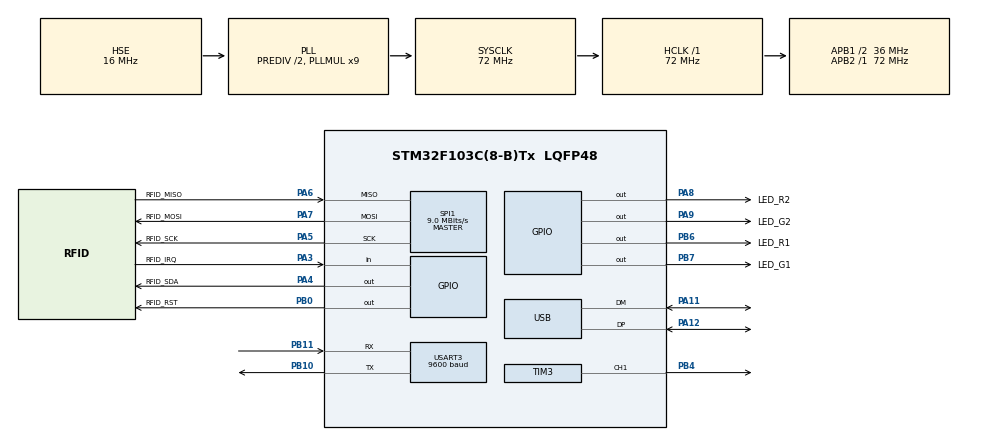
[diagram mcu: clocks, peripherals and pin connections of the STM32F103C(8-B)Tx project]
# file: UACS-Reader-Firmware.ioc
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Dma.Request0=USART3_TX
Dma.Request1=USART3_RX
Dma.USART3_RX.1.Direction=DMA_PERIPH_TO_MEMORY
Dma.USART3_RX.1.Instance=DMA1_Channel3
Dma.USART3_RX.1.MemDataAlignment=DMA_MDATAALIGN_BYTE
Dma.USART3_RX.1.MemInc=DMA_MINC_ENABLE
Dma.USART3_RX.1.Mode=DMA_NORMAL
Dma.USART3_RX.1.PeriphDataAlignment=DMA_PDATAALIGN_BYTE
Dma.USART3_RX.1.PeriphInc=DMA_PINC_DISABLE
Dma.USART3_RX.1.Priority=DMA_PRIORITY_LOW
Dma.USART3_TX.0.Direction=DMA_MEMORY_TO_PERIPH
Dma.USART3_TX.0.Instance=DMA1_Channel2
Dma.USART3_TX.0.MemDataAlignment=DMA_MDATAALIGN_BYTE
Dma.USART3_TX.0.MemInc=DMA_MINC_ENABLE
Dma.USART3_TX.0.Mode=DMA_NORMAL
Dma.USART3_TX.0.PeriphDataAlignment=DMA_PDATAALIGN_BYTE
Dma.USART3_TX.0.PeriphInc=DMA_PINC_DISABLE
Dma.USART3_TX.0.Priority=DMA_PRIORITY_LOW
Mcu.Family=STM32F1
Mcu.Name=STM32F103C(8-B)Tx
Mcu.Package=LQFP48
NVIC.DMA1_Channel2_IRQn=true\:0\:0\:false\:false\:true\:false\:true\:true
NVIC.DMA1_Channel3_IRQn=true\:0\:0\:false\:false\:true\:false\:true\:true
NVIC.PriorityGroup=NVIC_PRIORITYGROUP_4
NVIC.USART3_IRQn=true\:0\:0\:false\:false\:true\:true\:true\:true
NVIC.USB_LP_CAN1_RX0_IRQn=true\:0\:0\:false\:false\:true\:false\:true\:true
PA11.Mode=Device
PA11.Signal=USB_DM
PA12.Mode=Device
PA12.Signal=USB_DP
PA13.Mode=Trace_Asynchronous_SW
PA13.Signal=SYS_JTMS-SWDIO
PA14.Mode=Trace_Asynchronous_SW
PA14.Signal=SYS_JTCK-SWCLK
PA3.GPIO_Label=RFID_IRQ
PA3.Signal=GPIO_Input
PA4.GPIO_Label=RFID_SDA
PA4.Signal=GPIO_Output
PA5.GPIO_Label=RFID_SCK
PA5.Mode=Full_Duplex_Master
PA5.Signal=SPI1_SCK
PA6.GPIO_Label=RFID_MISO
PA6.Mode=Full_Duplex_Master
PA6.Signal=SPI1_MISO
PA7.GPIO_Label=RFID_MOSI
PA7.Mode=Full_Duplex_Master
PA7.Signal=SPI1_MOSI
PA8.GPIO_Label=LED_R2
PA8.Signal=GPIO_Output
PA9.GPIO_Label=LED_G2
PA9.Signal=GPIO_Output
PB0.GPIO_Label=RFID_RST
PB0.Signal=GPIO_Output
PB10.Mode=Asynchronous
PB10.Signal=USART3_TX
PB11.Mode=Asynchronous
PB11.Signal=USART3_RX
PB3.Mode=Trace_Asynchronous_SW
PB3.Signal=SYS_JTDO-TRACESWO
PB4.Signal=S_TIM3_CH1
PB6.GPIO_Label=LED_R1
PB6.Signal=GPIO_Output
PB7.GPIO_Label=LED_G1
PB7.Signal=GPIO_Output
PD0-OSC_IN.Mode=HSE-External-Oscillator
PD0-OSC_IN.Signal=RCC_OSC_IN
PD1-OSC_OUT.Mode=HSE-External-Oscillator
PD1-OSC_OUT.Signal=RCC_OSC_OUT
ProjectManager.HeapSize=0x200
ProjectManager.StackSize=0x400
ProjectManager.TargetToolchain=STM32CubeIDE
RCC.AHBFreq_Value=72000000
RCC.APB1CLKDivider=RCC_HCLK_DIV2
RCC.APB1Freq_Value=36000000
RCC.APB1TimFreq_Value=72000000
RCC.APB2Freq_Value=72000000
RCC.APB2TimFreq_Value=72000000
RCC.HCLKFreq_Value=72000000
RCC.HSEDivPLL=RCC_HSE_PREDIV_DIV2
RCC.HSE_VALUE=16000000
RCC.PLLMUL=RCC_PLL_MUL9
RCC.PLLSourceVirtual=RCC_PLLSOURCE_HSE
RCC.SYSCLKFreq_VALUE=72000000
RCC.SYSCLKSource=RCC_SYSCLKSOURCE_PLLCLK
RCC.USBFreq_Value=48000000
RCC.USBPrescaler=RCC_USBCLKSOURCE_PLL_DIV1_5
SH.S_TIM3_CH1.0=TIM3_CH1,PWM Generation1 CH1
SPI1.BaudRatePrescaler=SPI_BAUDRATEPRESCALER_8
SPI1.CalculateBaudRate=9.0 MBits/s
SPI1.Direction=SPI_DIRECTION_2LINES
SPI1.Mode=SPI_MODE_MASTER
SPI1.VirtualType=VM_MASTER
TIM2.AutoReloadPreload=TIM_AUTORELOAD_PRELOAD_ENABLE
TIM2.Period=1124
TIM3.AutoReloadPreload=TIM_AUTORELOAD_PRELOAD_ENABLE
TIM3.Channel-PWM\ Generation1\ CH1=TIM_CHANNEL_1
TIM3.Period=1124
TIM3.Pulse-PWM\ Generation1\ CH1=562
USART3.BaudRate=9600
USART3.VirtualMode=VM_ASYNC
USB_DEVICE.CLASS_NAME_FS=CDC
USB_DEVICE.USBD_DEBUG_LEVEL=3
USB_DEVICE.VirtualMode=Cdc
USB_DEVICE.VirtualModeFS=Cdc_FS
VP_TIM2_VS_ClockSourceINT.Mode=Internal
VP_TIM3_VS_ClockSourceINT.Mode=Internal
VP_USB_DEVICE_VS_USB_DEVICE_CDC_FS.Mode=CDC_FS
board=custom

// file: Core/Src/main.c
/* USER CODE BEGIN Header */
/**
  ******************************************************************************
  * @file           : main.c
  * @brief          : Main program body
  ******************************************************************************
  * @attention
  *
  * Copyright (c) 2025 STMicroelectronics.
  * All rights reserved.
  *
  * This software is licensed under terms that can be found in the LICENSE file
  * in the root directory of this software component.
  * If no LICENSE file comes with this software, it is provided AS-IS.
  *
  ******************************************************************************
  */
/* USER CODE END Header */
#include "main.h"
#include "usb_device.h"

/* USER CODE BEGIN Includes */
#include "rc522.h"
#include "string.h"
/* USER CODE END Includes */

SPI_HandleTypeDef hspi1;

TIM_HandleTypeDef htim2;
TIM_HandleTypeDef htim3;

UART_HandleTypeDef huart3;
DMA_HandleTypeDef hdma_usart3_tx;
DMA_HandleTypeDef hdma_usart3_rx;

void SystemClock_Config(void);
static void MX_GPIO_Init(void);
static void MX_DMA_Init(void);
static void MX_SPI1_Init(void);
static void MX_USART3_UART_Init(void);
static void MX_TIM3_Init(void);
static void MX_TIM2_Init(void);

int main(void)
{

  /* MCU Configuration--------------------------------------------------------*/

  /* Reset of all peripherals, Initializes the Flash interface and the Systick. */
  HAL_Init();

  /* Configure the system clock */
  SystemClock_Config();

  /* Initialize all configured peripherals */
  MX_GPIO_Init();
  MX_DMA_Init();
  MX_SPI1_Init();
  MX_USART3_UART_Init();
  MX_USB_DEVICE_Init();
  MX_TIM3_Init();
  MX_TIM2_Init();
  /* USER CODE BEGIN 2 */
  uint8_t status;
  uint8_t str[MAX_LEN]; // Max_LEN = 16
  uint8_t sNum[5];
  uint8_t TxBuffer[] = "88\n";
  uint8_t TxBufferLen = strlen(TxBuffer);
  HAL_TIM_PWM_Start(&htim3, TIM_CHANNEL_1);
  MFRC522_Init();
  HAL_GPIO_WritePin(GPIOB, GPIO_PIN_7, GPIO_PIN_SET);
  /* USER CODE END 2 */

  /* Infinite loop */
  /* USER CODE BEGIN WHILE */
  while (1)
  {
	 /* status = MFRC522_Request(PICC_REQIDL, str);
	  status = MFRC522_Anticoll(str);
	  memcpy(sNum, str, 5);
	  HAL_Delay(100);

	  HAL_Delay(2000);
	  */
	  if (CDC_Transmit_FS(TxBuffer, TxBufferLen) == USBD_OK){
		  HAL_GPIO_WritePin(GPIOB, GPIO_PIN_7, GPIO_PIN_SET);
		  HAL_Delay(100);
		  HAL_GPIO_WritePin(GPIOB, GPIO_PIN_7, GPIO_PIN_RESET);
		  HAL_Delay(100);
	  }else{
		  HAL_GPIO_WritePin(GPIOB, GPIO_PIN_7, GPIO_PIN_RESET);
		  HAL_GPIO_WritePin(GPIOB, GPIO_PIN_6, GPIO_PIN_SET);
		  HAL_Delay(100);
		  HAL_GPIO_WritePin(GPIOB, GPIO_PIN_6, GPIO_PIN_RESET);
		  HAL_Delay(100);
	  }
	  ;

    /* USER CODE END WHILE */

  }
}

void SystemClock_Config(void)
{
  RCC_OscInitTypeDef RCC_OscInitStruct = {0};
  RCC_ClkInitTypeDef RCC_ClkInitStruct = {0};
  RCC_PeriphCLKInitTypeDef PeriphClkInit = {0};

  /** Initializes the RCC Oscillators according to the specified parameters
  * in the RCC_OscInitTypeDef structure.
  */
  RCC_OscInitStruct.OscillatorType = RCC_OSCILLATORTYPE_HSE;
  RCC_OscInitStruct.HSEState = RCC_HSE_ON;
  RCC_OscInitStruct.HSEPredivValue = RCC_HSE_PREDIV_DIV2;
  RCC_OscInitStruct.HSIState = RCC_HSI_ON;
  RCC_OscInitStruct.PLL.PLLState = RCC_PLL_ON;
  RCC_OscInitStruct.PLL.PLLSource = RCC_PLLSOURCE_HSE;
  RCC_OscInitStruct.PLL.PLLMUL = RCC_PLL_MUL9;
  if (HAL_RCC_OscConfig(&RCC_OscInitStruct) != HAL_OK)
  {
    Error_Handler();
  }

  /** Initializes the CPU, AHB and APB buses clocks
  */
  RCC_ClkInitStruct.ClockType = RCC_CLOCKTYPE_HCLK|RCC_CLOCKTYPE_SYSCLK
                              |RCC_CLOCKTYPE_PCLK1|RCC_CLOCKTYPE_PCLK2;
  RCC_ClkInitStruct.SYSCLKSource = RCC_SYSCLKSOURCE_PLLCLK;
  RCC_ClkInitStruct.AHBCLKDivider = RCC_SYSCLK_DIV1;
  RCC_ClkInitStruct.APB1CLKDivider = RCC_HCLK_DIV2;
  RCC_ClkInitStruct.APB2CLKDivider = RCC_HCLK_DIV1;

  if (HAL_RCC_ClockConfig(&RCC_ClkInitStruct, FLASH_LATENCY_2) != HAL_OK)
  {
    Error_Handler();
  }
  PeriphClkInit.PeriphClockSelection = RCC_PERIPHCLK_USB;
  PeriphClkInit.UsbClockSelection = RCC_USBCLKSOURCE_PLL_DIV1_5;
  if (HAL_RCCEx_PeriphCLKConfig(&PeriphClkInit) != HAL_OK)
  {
    Error_Handler();
  }
}

static void MX_SPI1_Init(void)
{

  /* SPI1 parameter configuration*/
  hspi1.Instance = SPI1;
  hspi1.Init.Mode = SPI_MODE_MASTER;
  hspi1.Init.Direction = SPI_DIRECTION_2LINES;
  hspi1.Init.DataSize = SPI_DATASIZE_8BIT;
  hspi1.Init.CLKPolarity = SPI_POLARITY_LOW;
  hspi1.Init.CLKPhase = SPI_PHASE_1EDGE;
  hspi1.Init.NSS = SPI_NSS_SOFT;
  hspi1.Init.BaudRatePrescaler = SPI_BAUDRATEPRESCALER_8;
  hspi1.Init.FirstBit = SPI_FIRSTBIT_MSB;
  hspi1.Init.TIMode = SPI_TIMODE_DISABLE;
  hspi1.Init.CRCCalculation = SPI_CRCCALCULATION_DISABLE;
  hspi1.Init.CRCPolynomial = 10;
  if (HAL_SPI_Init(&hspi1) != HAL_OK)
  {
    Error_Handler();
  }

}

static void MX_TIM2_Init(void)
{

  TIM_ClockConfigTypeDef sClockSourceConfig = {0};
  TIM_MasterConfigTypeDef sMasterConfig = {0};

  htim2.Instance = TIM2;
  htim2.Init.Prescaler = 0;
  htim2.Init.CounterMode = TIM_COUNTERMODE_UP;
  htim2.Init.Period = 1124;
  htim2.Init.ClockDivision = TIM_CLOCKDIVISION_DIV1;
  htim2.Init.AutoReloadPreload = TIM_AUTORELOAD_PRELOAD_ENABLE;
  if (HAL_TIM_Base_Init(&htim2) != HAL_OK)
  {
    Error_Handler();
  }
  sClockSourceConfig.ClockSource = TIM_CLOCKSOURCE_INTERNAL;
  if (HAL_TIM_ConfigClockSource(&htim2, &sClockSourceConfig) != HAL_OK)
  {
    Error_Handler();
  }
  sMasterConfig.MasterOutputTrigger = TIM_TRGO_RESET;
  sMasterConfig.MasterSlaveMode = TIM_MASTERSLAVEMODE_DISABLE;
  if (HAL_TIMEx_MasterConfigSynchronization(&htim2, &sMasterConfig) != HAL_OK)
  {
    Error_Handler();
  }

}

static void MX_TIM3_Init(void)
{

  TIM_ClockConfigTypeDef sClockSourceConfig = {0};
  TIM_MasterConfigTypeDef sMasterConfig = {0};
  TIM_OC_InitTypeDef sConfigOC = {0};

  htim3.Instance = TIM3;
  htim3.Init.Prescaler = 0;
  htim3.Init.CounterMode = TIM_COUNTERMODE_UP;
  htim3.Init.Period = 1124;
  htim3.Init.ClockDivision = TIM_CLOCKDIVISION_DIV1;
  htim3.Init.AutoReloadPreload = TIM_AUTORELOAD_PRELOAD_ENABLE;
  if (HAL_TIM_Base_Init(&htim3) != HAL_OK)
  {
    Error_Handler();
  }
  sClockSourceConfig.ClockSource = TIM_CLOCKSOURCE_INTERNAL;
  if (HAL_TIM_ConfigClockSource(&htim3, &sClockSourceConfig) != HAL_OK)
  {
    Error_Handler();
  }
  if (HAL_TIM_PWM_Init(&htim3) != HAL_OK)
  {
    Error_Handler();
  }
  sMasterConfig.MasterOutputTrigger = TIM_TRGO_RESET;
  sMasterConfig.MasterSlaveMode = TIM_MASTERSLAVEMODE_DISABLE;
  if (HAL_TIMEx_MasterConfigSynchronization(&htim3, &sMasterConfig) != HAL_OK)
  {
    Error_Handler();
  }
  sConfigOC.OCMode = TIM_OCMODE_PWM1;
  sConfigOC.Pulse = 562;
  sConfigOC.OCPolarity = TIM_OCPOLARITY_HIGH;
  sConfigOC.OCFastMode = TIM_OCFAST_DISABLE;
  if (HAL_TIM_PWM_ConfigChannel(&htim3, &sConfigOC, TIM_CHANNEL_1) != HAL_OK)
  {
    Error_Handler();
  }
  HAL_TIM_MspPostInit(&htim3);

}

static void MX_USART3_UART_Init(void)
{

  huart3.Instance = USART3;
  huart3.Init.BaudRate = 9600;
  huart3.Init.WordLength = UART_WORDLENGTH_8B;
  huart3.Init.StopBits = UART_STOPBITS_1;
  huart3.Init.Parity = UART_PARITY_NONE;
  huart3.Init.Mode = UART_MODE_TX_RX;
  huart3.Init.HwFlowCtl = UART_HWCONTROL_NONE;
  huart3.Init.OverSampling = UART_OVERSAMPLING_16;
  if (HAL_UART_Init(&huart3) != HAL_OK)
  {
    Error_Handler();
  }

}

static void MX_DMA_Init(void)
{

  /* DMA controller clock enable */
  __HAL_RCC_DMA1_CLK_ENABLE();

  /* DMA interrupt init */
  /* DMA1_Channel2_IRQn interrupt configuration */
  HAL_NVIC_SetPriority(DMA1_Channel2_IRQn, 0, 0);
  HAL_NVIC_EnableIRQ(DMA1_Channel2_IRQn);
  /* DMA1_Channel3_IRQn interrupt configuration */
  HAL_NVIC_SetPriority(DMA1_Channel3_IRQn, 0, 0);
  HAL_NVIC_EnableIRQ(DMA1_Channel3_IRQn);

}

static void MX_GPIO_Init(void)
{
  GPIO_InitTypeDef GPIO_InitStruct = {0};

  /* GPIO Ports Clock Enable */
  __HAL_RCC_GPIOD_CLK_ENABLE();
  __HAL_RCC_GPIOA_CLK_ENABLE();
  __HAL_RCC_GPIOB_CLK_ENABLE();

  /*Configure GPIO pin Output Level */
  HAL_GPIO_WritePin(GPIOA, RFID_SDA_Pin|LED_R2_Pin|LED_G2_Pin, GPIO_PIN_RESET);

  /*Configure GPIO pin Output Level */
  HAL_GPIO_WritePin(GPIOB, RFID_RST_Pin|LED_R1_Pin|LED_G1_Pin, GPIO_PIN_RESET);

  /*Configure GPIO pin : RFID_IRQ_Pin */
  GPIO_InitStruct.Pin = RFID_IRQ_Pin;
  GPIO_InitStruct.Mode = GPIO_MODE_INPUT;
  GPIO_InitStruct.Pull = GPIO_NOPULL;
  HAL_GPIO_Init(RFID_IRQ_GPIO_Port, &GPIO_InitStruct);

  /*Configure GPIO pins : RFID_SDA_Pin LED_R2_Pin LED_G2_Pin */
  GPIO_InitStruct.Pin = RFID_SDA_Pin|LED_R2_Pin|LED_G2_Pin;
  GPIO_InitStruct.Mode = GPIO_MODE_OUTPUT_PP;
  GPIO_InitStruct.Pull = GPIO_NOPULL;
  GPIO_InitStruct.Speed = GPIO_SPEED_FREQ_LOW;
  HAL_GPIO_Init(GPIOA, &GPIO_InitStruct);

  /*Configure GPIO pins : RFID_RST_Pin LED_R1_Pin LED_G1_Pin */
  GPIO_InitStruct.Pin = RFID_RST_Pin|LED_R1_Pin|LED_G1_Pin;
  GPIO_InitStruct.Mode = GPIO_MODE_OUTPUT_PP;
  GPIO_InitStruct.Pull = GPIO_NOPULL;
  GPIO_InitStruct.Speed = GPIO_SPEED_FREQ_LOW;
  HAL_GPIO_Init(GPIOB, &GPIO_InitStruct);

}

/* USER CODE BEGIN 4 */
void USB_CDC_RxHandler(uint8_t* Buf, uint32_t Len)
{
	HAL_GPIO_WritePin(GPIOA, GPIO_PIN_9, GPIO_PIN_RESET);
	HAL_GPIO_WritePin(GPIOA, GPIO_PIN_8, GPIO_PIN_RESET);
	if(strcmp((char*)Buf, "yes")==0){
		HAL_GPIO_WritePin(GPIOA, GPIO_PIN_9, GPIO_PIN_SET);
	}else{
		HAL_GPIO_WritePin(GPIOA, GPIO_PIN_8, GPIO_PIN_SET);
	}
    /*CDC_Transmit_FS(Buf, Len);*/
}
#define SAMPLES 64
uint8_t sine_table[SAMPLES];

void generate_sine_table() {
    for (int i = 0; i < SAMPLES; i++) {
        float angle = (2.0f * 3.14159f * i) / SAMPLES;
        sine_table[i] = (uint8_t)((sinf(angle) * 0.5f + 0.5f) * 1124);
    }
}

/* USER CODE END 4 */

void Error_Handler(void)
{
  __disable_irq();
  while (1)
  {
  }
}
